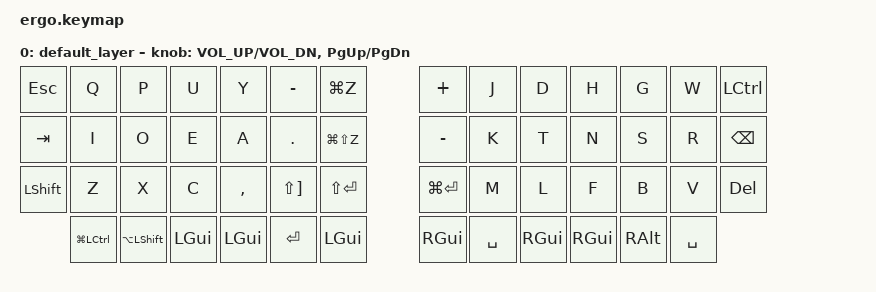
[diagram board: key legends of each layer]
/*
 * Copyright (c) 2020 The ZMK Contributors
 *
 * SPDX-License-Identifier: MIT
 */

#include <behaviors.dtsi>
#include <dt-bindings/zmk/keys.h>
#include <dt-bindings/zmk/bt.h>



/* レイヤー名指定 */
/* LAYER01 =>  vscodoやスクリーンショット・キー移動などのコマンドメインのレイヤー */
/* LAYER02 =>  記号などメインのレイヤー */
/* LAYER03 =>  数字などがメインのレイヤー */
#define DEFAULT 0
#define LAYER01 1
#define LAYER02 2
#define LAYER03 3

/* ltのタイミング設定 */
&mt {
    tapping-term-ms = <200>;
};



/ {



  keymap {
    compatible = "zmk,keymap";


  /* DEFAULT LAYER */

    default_layer {
      bindings = <
        &kp ESC     &kp Q  &kp P  &kp U  &kp Y  &kp MINUS  &kp LG(Z)                                    &kp PLUS   &kp J     &kp D     &kp H     &kp G   &kp W    &kp LCTRL
        &kp TAB     &kp I  &kp O  &kp E  &kp A  &kp DOT  &kp LG(LS(Z))                                   &kp MINUS  &kp K     &kp T     &kp N     &kp S   &kp R    &kp BACKSPACE
        &kp LSHIFT  &kp Z  &kp X  &kp C  &kp COMMA  &kp LS(RIGHT_BRACKET)  &kp LS(ENTER)               &kp LG(ENTER)  &kp M     &kp L     &kp F     &kp B   &kp V    &kp DELETE
        &kp LG(LCTRL) &kp LA(LSHIFT) &kp LGUI &kp LGUI &kp ENTER &kp LGUI              &kp RGUI &kp SPACE &kp RGUI    &kp RGUI   &kp RALT  &kp SPACE
      >;

      sensor-bindings = <&inc_dec_kp C_VOL_UP C_VOL_DN &inc_dec_kp PG_UP PG_DN>;
    };




  };
};
